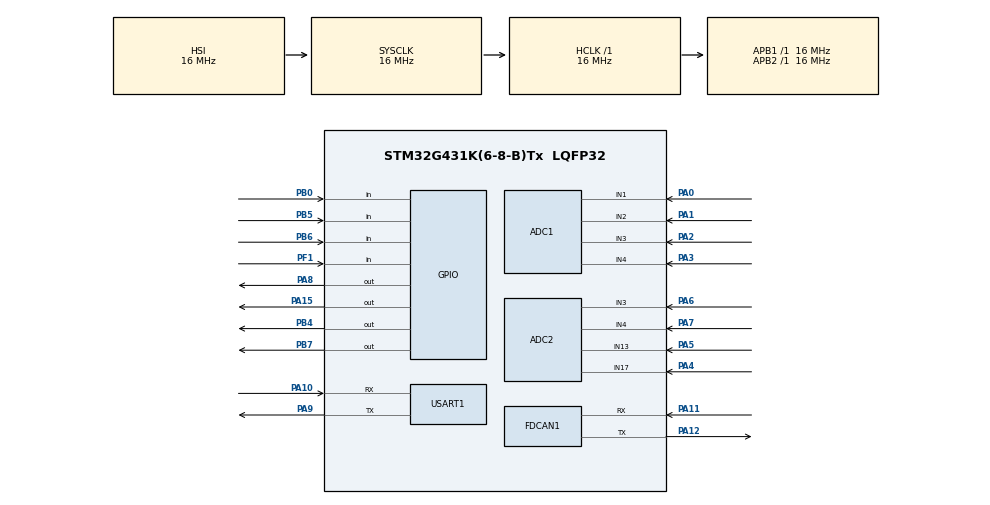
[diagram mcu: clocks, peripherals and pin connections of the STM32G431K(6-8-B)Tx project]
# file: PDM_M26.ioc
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ADC1.Channel-1\#ChannelRegularConversion=ADC_CHANNEL_1
ADC1.Channel-2\#ChannelRegularConversion=ADC_CHANNEL_2
ADC1.Channel-3\#ChannelRegularConversion=ADC_CHANNEL_3
ADC1.Channel-4\#ChannelRegularConversion=ADC_CHANNEL_4
ADC1.NbrOfConversion=4
ADC1.NbrOfConversionFlag=1
ADC1.OffsetNumber-1\#ChannelRegularConversion=ADC_OFFSET_NONE
ADC1.OffsetNumber-2\#ChannelRegularConversion=ADC_OFFSET_NONE
ADC1.OffsetNumber-3\#ChannelRegularConversion=ADC_OFFSET_NONE
ADC1.OffsetNumber-4\#ChannelRegularConversion=ADC_OFFSET_NONE
ADC1.Rank-1\#ChannelRegularConversion=1
ADC1.Rank-2\#ChannelRegularConversion=2
ADC1.Rank-3\#ChannelRegularConversion=3
ADC1.Rank-4\#ChannelRegularConversion=4
ADC1.SamplingTime-1\#ChannelRegularConversion=ADC_SAMPLETIME_2CYCLES_5
ADC1.SamplingTime-2\#ChannelRegularConversion=ADC_SAMPLETIME_2CYCLES_5
ADC1.SamplingTime-3\#ChannelRegularConversion=ADC_SAMPLETIME_2CYCLES_5
ADC1.SamplingTime-4\#ChannelRegularConversion=ADC_SAMPLETIME_2CYCLES_5
ADC1.master=1
ADC2.Channel-2\#ChannelRegularConversion=ADC_CHANNEL_4
ADC2.Channel-3\#ChannelRegularConversion=ADC_CHANNEL_3
ADC2.Channel-4\#ChannelRegularConversion=ADC_CHANNEL_13
ADC2.Channel-5\#ChannelRegularConversion=ADC_CHANNEL_17
ADC2.NbrOfConversion=4
ADC2.NbrOfConversionFlag=1
ADC2.OffsetNumber-2\#ChannelRegularConversion=ADC_OFFSET_NONE
ADC2.OffsetNumber-3\#ChannelRegularConversion=ADC_OFFSET_NONE
ADC2.OffsetNumber-4\#ChannelRegularConversion=ADC_OFFSET_NONE
ADC2.OffsetNumber-5\#ChannelRegularConversion=ADC_OFFSET_NONE
ADC2.Rank-2\#ChannelRegularConversion=1
ADC2.Rank-3\#ChannelRegularConversion=2
ADC2.Rank-4\#ChannelRegularConversion=3
ADC2.Rank-5\#ChannelRegularConversion=4
ADC2.SamplingTime-2\#ChannelRegularConversion=ADC_SAMPLETIME_2CYCLES_5
ADC2.SamplingTime-3\#ChannelRegularConversion=ADC_SAMPLETIME_2CYCLES_5
ADC2.SamplingTime-4\#ChannelRegularConversion=ADC_SAMPLETIME_2CYCLES_5
ADC2.SamplingTime-5\#ChannelRegularConversion=ADC_SAMPLETIME_2CYCLES_5
FDCAN1.CalculateBaudRateNominal=333333
FDCAN1.CalculateTimeBitNominal=3000
FDCAN1.CalculateTimeQuantumNominal=1000.0
Mcu.Family=STM32G4
Mcu.Name=STM32G431K(6-8-B)Tx
Mcu.Package=LQFP32
NVIC.PriorityGroup=NVIC_PRIORITYGROUP_4
PA0.Mode=IN1-Single-Ended
PA0.Signal=ADC1_IN1
PA1.Mode=IN2-Single-Ended
PA1.Signal=ADC1_IN2
PA10.Mode=Asynchronous
PA10.Signal=USART1_RX
PA11.Mode=FDCAN_Activate
PA11.Signal=FDCAN1_RX
PA12.Mode=FDCAN_Activate
PA12.Signal=FDCAN1_TX
PA15.Signal=GPIO_Output
PA2.Mode=IN3-Single-Ended
PA2.Signal=ADC1_IN3
PA3.Mode=IN4-Single-Ended
PA3.Signal=ADC1_IN4
PA4.Mode=IN17-Single-Ended
PA4.Signal=ADC2_IN17
PA5.Mode=IN13-Single-Ended
PA5.Signal=ADC2_IN13
PA6.Mode=IN3-Single-Ended
PA6.Signal=ADC2_IN3
PA7.Mode=IN4-Single-Ended
PA7.Signal=ADC2_IN4
PA8.Signal=GPIO_Output
PA9.Mode=Asynchronous
PA9.Signal=USART1_TX
PB0.Signal=GPIO_Input
PB4.Signal=GPIO_Output
PB5.Signal=GPIO_Input
PB6.Signal=GPIO_Input
PB7.Signal=GPIO_Output
PF1-OSC_OUT.Signal=GPIO_Input
ProjectManager.HeapSize=0x200
ProjectManager.StackSize=0x400
ProjectManager.TargetToolchain=CMake
RCC.AHBFreq_Value=16000000
RCC.APB1Freq_Value=16000000
RCC.APB1TimFreq_Value=16000000
RCC.APB2Freq_Value=16000000
RCC.APB2TimFreq_Value=16000000
RCC.CortexFreq_Value=16000000
RCC.EXTERNAL_CLOCK_VALUE=12288000
RCC.HCLKFreq_Value=16000000
RCC.HSE_VALUE=8000000
RCC.HSI48_VALUE=48000000
RCC.HSI_VALUE=16000000
RCC.LSE_VALUE=32768
RCC.SYSCLKFreq_VALUE=16000000
RCC.USBFreq_Value=64000000
RCC.VCOOutputFreq_Value=128000000
TIM3.Channel-PWM\ Generation1\ No\ Output=TIM_CHANNEL_1
TIM3.ClearInputSource=TIM_CLEARINPUTSOURCE_COMP1
USART1.VirtualMode-Asynchronous=VM_ASYNC
VP_SYS_VS_DBSignals.Mode=DisableDeadBatterySignals
VP_TIM3_VS_no_output1.Mode=PWM Generation1 No Output
board=NUCLEO-G431KB

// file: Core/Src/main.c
/* USER CODE BEGIN Header */
/**
  ******************************************************************************
  * @file           : main.c
  * @brief          : Main program body
  ******************************************************************************
  * @attention
  *
  * Copyright (c) 2026 STMicroelectronics.
  * All rights reserved.
  *
  * This software is licensed under terms that can be found in the LICENSE file
  * in the root directory of this software component.
  * If no LICENSE file comes with this software, it is provided AS-IS.
  *
  ******************************************************************************
  */
/* USER CODE END Header */
#include "main.h"

/* USER CODE BEGIN Includes */
#include <stdio.h>
/* USER CODE END Includes */

ADC_HandleTypeDef hadc1;
ADC_HandleTypeDef hadc2;

FDCAN_HandleTypeDef hfdcan1;

TIM_HandleTypeDef htim3;

UART_HandleTypeDef huart1;

/* USER CODE BEGIN PV */
#define VDDA_VOLTAGE        3.3f
#define ADC_MAX_COUNT       4095.0f
#define OVERCURRENT_LIMIT_A 7.0f

/* Raw ADC results */
uint32_t adc1_raw[4]; /* Rank1=PA0 BattRef, Rank2=PA1 Pump, Rank3=PA2 Fan2, Rank4=PA3 unused */
uint32_t adc2_raw[4]; /* Rank1=PA7 HighCurr, Rank2=PA6 Fan1, Rank3=PA5 LowCurr2, Rank4=PA4 LowCurr1 */

/* Converted values */
float v_battery_ref;
float i_pump, i_fan1, i_fan2, i_highcurrent, i_lowcurrent1, i_lowcurrent2;

/* Diagnostic inputs */
uint8_t fan1_diag, fan2_diag, pump_diag, highcurrent_diag;

/* Switch trip states (for printing/status only; GPIO write is the actual source of truth) */
uint8_t pump_tripped, fan1_tripped, fan2_tripped, highcurrent_tripped;
/* USER CODE END PV */

void SystemClock_Config(void);
static void MX_GPIO_Init(void);
static void MX_FDCAN1_Init(void);
static void MX_ADC2_Init(void);
static void MX_ADC1_Init(void);
static void MX_TIM3_Init(void);
static void MX_USART1_UART_Init(void);
/* USER CODE BEGIN PFP */
static void ReadADC1_AllChannels(void);
static void ReadADC2_AllChannels(void);
static float RawToVoltage(uint32_t raw);
/* USER CODE END PFP */

/* USER CODE BEGIN 0 */
/* Retarget printf() to SWO (ITM) so it shows up in the SWV/ITM console during a debug session */
int _write(int file, char *ptr, int len)
{
  for (int i = 0; i < len; i++)
  {
    ITM_SendChar((uint32_t)ptr[i]);
  }
  return len;
}
/* USER CODE END 0 */

int main(void)
{

  /* MCU Configuration--------------------------------------------------------*/

  /* Reset of all peripherals, Initializes the Flash interface and the Systick. */
  HAL_Init();

  /* Configure the system clock */
  SystemClock_Config();

  /* Initialize all configured peripherals */
  MX_GPIO_Init();
  MX_FDCAN1_Init();
  MX_ADC2_Init();
  MX_ADC1_Init();
  MX_TIM3_Init();
  MX_USART1_UART_Init();
  /* USER CODE BEGIN 2 */
  setvbuf(stdout, NULL, _IONBF, 0);
  /* Enable all switches by default (safe start = everything ON, protection kicks in below) */
  HAL_GPIO_WritePin(GPIOA, GPIO_PIN_15, GPIO_PIN_SET); /* Pump Enable ON */
  HAL_GPIO_WritePin(GPIOB, GPIO_PIN_4,  GPIO_PIN_SET); /* High Current Enable ON */
  HAL_GPIO_WritePin(GPIOB, GPIO_PIN_7,  GPIO_PIN_SET); /* Fan1 Enable ON */
  HAL_GPIO_WritePin(GPIOA, GPIO_PIN_8,  GPIO_PIN_SET); /* Fan2 Enable ON */

  printf("PDM_M26 starting up...\r\n");
  fflush(stdout);
  /* USER CODE END 2 */

  /* Infinite loop */
  while (1)
  {

    /* USER CODE BEGIN 3 */

    /* --- Read all analog sense channels --- */
    ReadADC1_AllChannels();
    ReadADC2_AllChannels();

    v_battery_ref  = RawToVoltage(adc1_raw[0]);                  /* PA0 */
    i_pump         = RawToVoltage(adc1_raw[1]) / 0.308f;         /* PA1 */
    i_fan2         = RawToVoltage(adc1_raw[2]) / 0.308f;         /* PA2 */

    i_highcurrent  = RawToVoltage(adc2_raw[0]) / 0.308f;         /* PA7 */
    i_fan1         = RawToVoltage(adc2_raw[1]) / 0.308f;         /* PA6 */
    i_lowcurrent2  = RawToVoltage(adc2_raw[2]) / 0.5999f;        /* PA5 */
    i_lowcurrent1  = RawToVoltage(adc2_raw[3]) / 0.5999f;        /* PA4 */

    /* --- Read diagnostic inputs --- */
    fan1_diag        = HAL_GPIO_ReadPin(GPIOB, GPIO_PIN_5);
    fan2_diag        = HAL_GPIO_ReadPin(GPIOB, GPIO_PIN_0);
    pump_diag        = HAL_GPIO_ReadPin(GPIOB, GPIO_PIN_6);
    highcurrent_diag = HAL_GPIO_ReadPin(GPIOF, GPIO_PIN_1);

    /* --- Overcurrent protection: keep each switch enabled unless its sense current hits 7A --- */
    pump_tripped = (i_pump >= 4.500f);
    HAL_GPIO_WritePin(GPIOA, GPIO_PIN_15, pump_tripped ? GPIO_PIN_RESET : GPIO_PIN_SET);

    highcurrent_tripped = (i_highcurrent >= OVERCURRENT_LIMIT_A);
    HAL_GPIO_WritePin(GPIOB, GPIO_PIN_4, highcurrent_tripped ? GPIO_PIN_RESET : GPIO_PIN_SET);

    fan1_tripped = (i_fan1 >= OVERCURRENT_LIMIT_A);
    HAL_GPIO_WritePin(GPIOB, GPIO_PIN_7, fan1_tripped ? GPIO_PIN_RESET : GPIO_PIN_SET);

    fan2_tripped = (i_fan2 >= OVERCURRENT_LIMIT_A);
    HAL_GPIO_WritePin(GPIOA, GPIO_PIN_8, fan2_tripped ? GPIO_PIN_RESET : GPIO_PIN_SET);

    /* --- Print voltage/current readings continuously --- */
    printf("VbattRef=%.3fV | Pump=%.3fA%s (diag=%d) | Fan1=%.3fA%s (diag=%d) | Fan2=%.3fA%s (diag=%d) | HighCurr=%.3fA%s (diag=%d) | LowCurr1=%.3fA | LowCurr2=%.3fA\r\n",
           v_battery_ref,
           i_pump,        pump_tripped        ? " [TRIPPED]" : "", pump_diag,
           i_fan1,        fan1_tripped        ? " [TRIPPED]" : "", fan1_diag,
           i_fan2,        fan2_tripped        ? " [TRIPPED]" : "", fan2_diag,
           i_highcurrent, highcurrent_tripped ? " [TRIPPED]" : "", highcurrent_diag,
           i_lowcurrent1,
           i_lowcurrent2);
    fflush(stdout);
    HAL_Delay(500);
  }
  /* USER CODE END 3 */
}

void SystemClock_Config(void)
{
  RCC_OscInitTypeDef RCC_OscInitStruct = {0};
  RCC_ClkInitTypeDef RCC_ClkInitStruct = {0};

  /** Configure the main internal regulator output voltage
  */
  HAL_PWREx_ControlVoltageScaling(PWR_REGULATOR_VOLTAGE_SCALE1);

  /** Initializes the RCC Oscillators according to the specified parameters
  * in the RCC_OscInitTypeDef structure.
  */
  RCC_OscInitStruct.OscillatorType = RCC_OSCILLATORTYPE_HSI;
  RCC_OscInitStruct.HSIState = RCC_HSI_ON;
  RCC_OscInitStruct.HSICalibrationValue = RCC_HSICALIBRATION_DEFAULT;
  RCC_OscInitStruct.PLL.PLLState = RCC_PLL_NONE;
  if (HAL_RCC_OscConfig(&RCC_OscInitStruct) != HAL_OK)
  {
    Error_Handler();
  }

  /** Initializes the CPU, AHB and APB buses clocks
  */
  RCC_ClkInitStruct.ClockType = RCC_CLOCKTYPE_HCLK|RCC_CLOCKTYPE_SYSCLK
                              |RCC_CLOCKTYPE_PCLK1|RCC_CLOCKTYPE_PCLK2;
  RCC_ClkInitStruct.SYSCLKSource = RCC_SYSCLKSOURCE_HSI;
  RCC_ClkInitStruct.AHBCLKDivider = RCC_SYSCLK_DIV1;
  RCC_ClkInitStruct.APB1CLKDivider = RCC_HCLK_DIV1;
  RCC_ClkInitStruct.APB2CLKDivider = RCC_HCLK_DIV1;

  if (HAL_RCC_ClockConfig(&RCC_ClkInitStruct, FLASH_LATENCY_0) != HAL_OK)
  {
    Error_Handler();
  }
}

static void MX_ADC1_Init(void)
{

  ADC_MultiModeTypeDef multimode = {0};
  ADC_ChannelConfTypeDef sConfig = {0};

  /** Common config
  */
  hadc1.Instance = ADC1;
  hadc1.Init.ClockPrescaler = ADC_CLOCK_SYNC_PCLK_DIV2;
  hadc1.Init.Resolution = ADC_RESOLUTION_12B;
  hadc1.Init.DataAlign = ADC_DATAALIGN_RIGHT;
  hadc1.Init.GainCompensation = 0;
  hadc1.Init.ScanConvMode = ADC_SCAN_ENABLE;
  hadc1.Init.EOCSelection = ADC_EOC_SINGLE_CONV;
  hadc1.Init.LowPowerAutoWait = DISABLE;
  hadc1.Init.ContinuousConvMode = DISABLE;
  hadc1.Init.NbrOfConversion = 4;
  hadc1.Init.DiscontinuousConvMode = DISABLE;
  hadc1.Init.ExternalTrigConv = ADC_SOFTWARE_START;
  hadc1.Init.ExternalTrigConvEdge = ADC_EXTERNALTRIGCONVEDGE_NONE;
  hadc1.Init.DMAContinuousRequests = DISABLE;
  hadc1.Init.Overrun = ADC_OVR_DATA_PRESERVED;
  hadc1.Init.OversamplingMode = DISABLE;
  if (HAL_ADC_Init(&hadc1) != HAL_OK)
  {
    Error_Handler();
  }

  /** Configure the ADC multi-mode
  */
  multimode.Mode = ADC_MODE_INDEPENDENT;
  if (HAL_ADCEx_MultiModeConfigChannel(&hadc1, &multimode) != HAL_OK)
  {
    Error_Handler();
  }

  /** Configure Regular Channel
  */
  sConfig.Channel = ADC_CHANNEL_1;
  sConfig.Rank = ADC_REGULAR_RANK_1;
  sConfig.SamplingTime = ADC_SAMPLETIME_2CYCLES_5;
  sConfig.SingleDiff = ADC_SINGLE_ENDED;
  sConfig.OffsetNumber = ADC_OFFSET_NONE;
  sConfig.Offset = 0;
  if (HAL_ADC_ConfigChannel(&hadc1, &sConfig) != HAL_OK)
  {
    Error_Handler();
  }

  /** Configure Regular Channel
  */
  sConfig.Channel = ADC_CHANNEL_2;
  sConfig.Rank = ADC_REGULAR_RANK_2;
  if (HAL_ADC_ConfigChannel(&hadc1, &sConfig) != HAL_OK)
  {
    Error_Handler();
  }

  /** Configure Regular Channel
  */
  sConfig.Channel = ADC_CHANNEL_3;
  sConfig.Rank = ADC_REGULAR_RANK_3;
  if (HAL_ADC_ConfigChannel(&hadc1, &sConfig) != HAL_OK)
  {
    Error_Handler();
  }

  /** Configure Regular Channel
  */
  sConfig.Channel = ADC_CHANNEL_4;
  sConfig.Rank = ADC_REGULAR_RANK_4;
  if (HAL_ADC_ConfigChannel(&hadc1, &sConfig) != HAL_OK)
  {
    Error_Handler();
  }

}

static void MX_ADC2_Init(void)
{

  ADC_ChannelConfTypeDef sConfig = {0};

  /** Common config
  */
  hadc2.Instance = ADC2;
  hadc2.Init.ClockPrescaler = ADC_CLOCK_SYNC_PCLK_DIV2;
  hadc2.Init.Resolution = ADC_RESOLUTION_12B;
  hadc2.Init.DataAlign = ADC_DATAALIGN_RIGHT;
  hadc2.Init.GainCompensation = 0;
  hadc2.Init.ScanConvMode = ADC_SCAN_ENABLE;
  hadc2.Init.EOCSelection = ADC_EOC_SINGLE_CONV;
  hadc2.Init.LowPowerAutoWait = DISABLE;
  hadc2.Init.ContinuousConvMode = DISABLE;
  hadc2.Init.NbrOfConversion = 4;
  hadc2.Init.DiscontinuousConvMode = DISABLE;
  hadc2.Init.ExternalTrigConv = ADC_SOFTWARE_START;
  hadc2.Init.ExternalTrigConvEdge = ADC_EXTERNALTRIGCONVEDGE_NONE;
  hadc2.Init.DMAContinuousRequests = DISABLE;
  hadc2.Init.Overrun = ADC_OVR_DATA_PRESERVED;
  hadc2.Init.OversamplingMode = DISABLE;
  if (HAL_ADC_Init(&hadc2) != HAL_OK)
  {
    Error_Handler();
  }

  /** Configure Regular Channel
  */
  sConfig.Channel = ADC_CHANNEL_4;
  sConfig.Rank = ADC_REGULAR_RANK_1;
  sConfig.SamplingTime = ADC_SAMPLETIME_2CYCLES_5;
  sConfig.SingleDiff = ADC_SINGLE_ENDED;
  sConfig.OffsetNumber = ADC_OFFSET_NONE;
  sConfig.Offset = 0;
  if (HAL_ADC_ConfigChannel(&hadc2, &sConfig) != HAL_OK)
  {
    Error_Handler();
  }

  /** Configure Regular Channel
  */
  sConfig.Channel = ADC_CHANNEL_3;
  sConfig.Rank = ADC_REGULAR_RANK_2;
  if (HAL_ADC_ConfigChannel(&hadc2, &sConfig) != HAL_OK)
  {
    Error_Handler();
  }

  /** Configure Regular Channel
  */
  sConfig.Channel = ADC_CHANNEL_13;
  sConfig.Rank = ADC_REGULAR_RANK_3;
  if (HAL_ADC_ConfigChannel(&hadc2, &sConfig) != HAL_OK)
  {
    Error_Handler();
  }

  /** Configure Regular Channel
  */
  sConfig.Channel = ADC_CHANNEL_17;
  sConfig.Rank = ADC_REGULAR_RANK_4;
  if (HAL_ADC_ConfigChannel(&hadc2, &sConfig) != HAL_OK)
  {
    Error_Handler();
  }

}

static void MX_FDCAN1_Init(void)
{

  hfdcan1.Instance = FDCAN1;
  hfdcan1.Init.ClockDivider = FDCAN_CLOCK_DIV1;
  hfdcan1.Init.FrameFormat = FDCAN_FRAME_CLASSIC;
  hfdcan1.Init.Mode = FDCAN_MODE_NORMAL;
  hfdcan1.Init.AutoRetransmission = DISABLE;
  hfdcan1.Init.TransmitPause = DISABLE;
  hfdcan1.Init.ProtocolException = DISABLE;
  hfdcan1.Init.NominalPrescaler = 16;
  hfdcan1.Init.NominalSyncJumpWidth = 1;
  hfdcan1.Init.NominalTimeSeg1 = 1;
  hfdcan1.Init.NominalTimeSeg2 = 1;
  hfdcan1.Init.DataPrescaler = 1;
  hfdcan1.Init.DataSyncJumpWidth = 1;
  hfdcan1.Init.DataTimeSeg1 = 1;
  hfdcan1.Init.DataTimeSeg2 = 1;
  hfdcan1.Init.StdFiltersNbr = 0;
  hfdcan1.Init.ExtFiltersNbr = 0;
  hfdcan1.Init.TxFifoQueueMode = FDCAN_TX_FIFO_OPERATION;
  if (HAL_FDCAN_Init(&hfdcan1) != HAL_OK)
  {
    Error_Handler();
  }

}

static void MX_TIM3_Init(void)
{

  TIM_MasterConfigTypeDef sMasterConfig = {0};
  TIM_OC_InitTypeDef sConfigOC = {0};

  htim3.Instance = TIM3;
  htim3.Init.Prescaler = 0;
  htim3.Init.CounterMode = TIM_COUNTERMODE_UP;
  htim3.Init.Period = 65535;
  htim3.Init.ClockDivision = TIM_CLOCKDIVISION_DIV1;
  htim3.Init.AutoReloadPreload = TIM_AUTORELOAD_PRELOAD_DISABLE;
  if (HAL_TIM_PWM_Init(&htim3) != HAL_OK)
  {
    Error_Handler();
  }
  sMasterConfig.MasterOutputTrigger = TIM_TRGO_RESET;
  sMasterConfig.MasterSlaveMode = TIM_MASTERSLAVEMODE_DISABLE;
  if (HAL_TIMEx_MasterConfigSynchronization(&htim3, &sMasterConfig) != HAL_OK)
  {
    Error_Handler();
  }
  sConfigOC.OCMode = TIM_OCMODE_PWM1;
  sConfigOC.Pulse = 0;
  sConfigOC.OCPolarity = TIM_OCPOLARITY_HIGH;
  sConfigOC.OCFastMode = TIM_OCFAST_DISABLE;
  if (HAL_TIM_PWM_ConfigChannel(&htim3, &sConfigOC, TIM_CHANNEL_1) != HAL_OK)
  {
    Error_Handler();
  }

}

static void MX_USART1_UART_Init(void)
{

  huart1.Instance = USART1;
  huart1.Init.BaudRate = 115200;
  huart1.Init.WordLength = UART_WORDLENGTH_8B;
  huart1.Init.StopBits = UART_STOPBITS_1;
  huart1.Init.Parity = UART_PARITY_NONE;
  huart1.Init.Mode = UART_MODE_TX_RX;
  huart1.Init.HwFlowCtl = UART_HWCONTROL_NONE;
  huart1.Init.OverSampling = UART_OVERSAMPLING_16;
  huart1.Init.OneBitSampling = UART_ONE_BIT_SAMPLE_DISABLE;
  huart1.Init.ClockPrescaler = UART_PRESCALER_DIV1;
  huart1.AdvancedInit.AdvFeatureInit = UART_ADVFEATURE_NO_INIT;
  if (HAL_UART_Init(&huart1) != HAL_OK)
  {
    Error_Handler();
  }
  if (HAL_UARTEx_SetTxFifoThreshold(&huart1, UART_TXFIFO_THRESHOLD_1_8) != HAL_OK)
  {
    Error_Handler();
  }
  if (HAL_UARTEx_SetRxFifoThreshold(&huart1, UART_RXFIFO_THRESHOLD_1_8) != HAL_OK)
  {
    Error_Handler();
  }
  if (HAL_UARTEx_DisableFifoMode(&huart1) != HAL_OK)
  {
    Error_Handler();
  }

}

static void MX_GPIO_Init(void)
{
  GPIO_InitTypeDef GPIO_InitStruct = {0};

  /* GPIO Ports Clock Enable */
  __HAL_RCC_GPIOF_CLK_ENABLE();
  __HAL_RCC_GPIOA_CLK_ENABLE();
  __HAL_RCC_GPIOB_CLK_ENABLE();

  /*Configure GPIO pin Output Level */
  HAL_GPIO_WritePin(GPIOA, GPIO_PIN_8|GPIO_PIN_15, GPIO_PIN_RESET);

  /*Configure GPIO pin Output Level */
  HAL_GPIO_WritePin(GPIOB, GPIO_PIN_4|GPIO_PIN_7, GPIO_PIN_RESET);

  /*Configure GPIO pin : PF1 */
  GPIO_InitStruct.Pin = GPIO_PIN_1;
  GPIO_InitStruct.Mode = GPIO_MODE_INPUT;
  GPIO_InitStruct.Pull = GPIO_NOPULL;
  HAL_GPIO_Init(GPIOF, &GPIO_InitStruct);

  /*Configure GPIO pins : PB0 PB5 PB6 */
  GPIO_InitStruct.Pin = GPIO_PIN_0|GPIO_PIN_5|GPIO_PIN_6;
  GPIO_InitStruct.Mode = GPIO_MODE_INPUT;
  GPIO_InitStruct.Pull = GPIO_NOPULL;
  HAL_GPIO_Init(GPIOB, &GPIO_InitStruct);

  /*Configure GPIO pins : PA8 PA15 */
  GPIO_InitStruct.Pin = GPIO_PIN_8|GPIO_PIN_15;
  GPIO_InitStruct.Mode = GPIO_MODE_OUTPUT_PP;
  GPIO_InitStruct.Pull = GPIO_NOPULL;
  GPIO_InitStruct.Speed = GPIO_SPEED_FREQ_LOW;
  HAL_GPIO_Init(GPIOA, &GPIO_InitStruct);

  /*Configure GPIO pins : PB4 PB7 */
  GPIO_InitStruct.Pin = GPIO_PIN_4|GPIO_PIN_7;
  GPIO_InitStruct.Mode = GPIO_MODE_OUTPUT_PP;
  GPIO_InitStruct.Pull = GPIO_NOPULL;
  GPIO_InitStruct.Speed = GPIO_SPEED_FREQ_LOW;
  HAL_GPIO_Init(GPIOB, &GPIO_InitStruct);

}

/* USER CODE BEGIN 4 */
static void ReadADC1_AllChannels(void)
{
  HAL_ADC_Start(&hadc1);
  for (int i = 0; i < 4; i++)
  {
    if (HAL_ADC_PollForConversion(&hadc1, 10) == HAL_OK)
    {
      adc1_raw[i] = HAL_ADC_GetValue(&hadc1);
    }
  }
  HAL_ADC_Stop(&hadc1);
}

static void ReadADC2_AllChannels(void)
{
  HAL_ADC_Start(&hadc2);
  for (int i = 0; i < 4; i++)
  {
    if (HAL_ADC_PollForConversion(&hadc2, 10) == HAL_OK)
    {
      adc2_raw[i] = HAL_ADC_GetValue(&hadc2);
    }
  }
  HAL_ADC_Stop(&hadc2);
}

static float RawToVoltage(uint32_t raw)
{
  return (raw * VDDA_VOLTAGE) / ADC_MAX_COUNT;
}
/* USER CODE END 4 */

void Error_Handler(void)
{
  __disable_irq();
  while (1)
  {
  }
}
